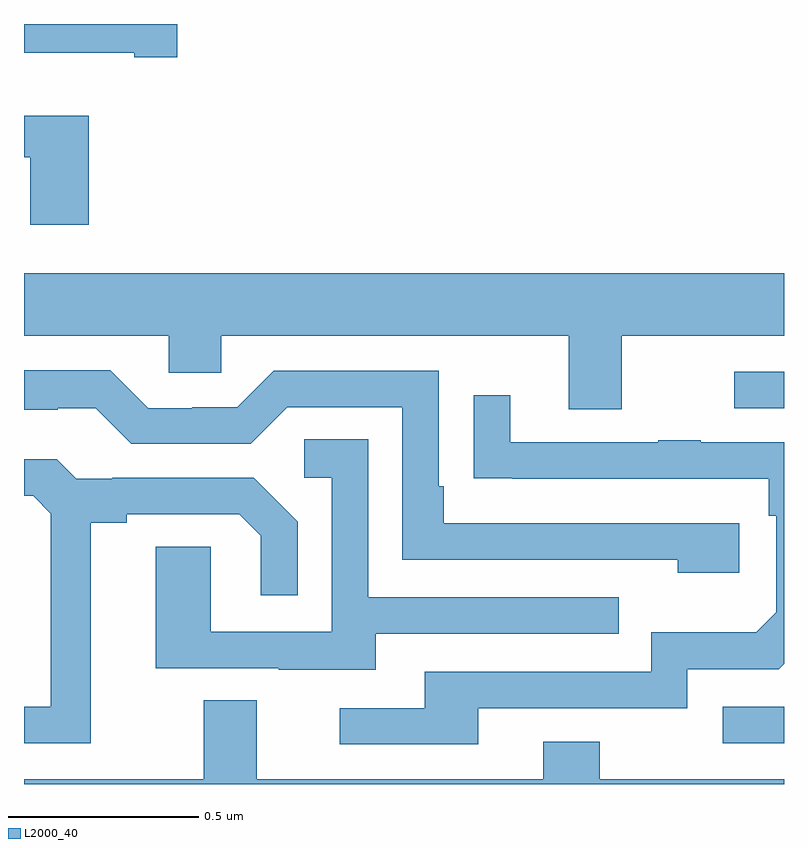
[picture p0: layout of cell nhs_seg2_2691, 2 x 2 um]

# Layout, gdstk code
import gdstk
lib = gdstk.Library(unit=1e-6, precision=1e-09)
def R(c, l, rs):  # rectangles x0, y0, x1, y1
    for r in rs: c.add(gdstk.rectangle(r[:2], r[2:], *l))
def P(c, l, *ps):  # polygons
    for p in ps: c.add(gdstk.Polygon(p, *l))
L2000_40 = (2000, 40)

nhs_seg2_2691 = lib.new_cell('nhs_seg2_2691')
R(nhs_seg2_2691, L2000_40, [(145.839,635.907,146,636.003), (145.869,636.789,146,636.885)])
P(nhs_seg2_2691, L2000_40, [(144.403,637.8),(144,637.8),(144,637.724),(144.29,637.724),(144.29,637.712),(144.403,637.712)],
  [(144.17,637.558),(144,637.558),(144,637.449),(144.017,637.449),(144.017,637.272),(144.17,637.272)],
  [(145.573,636.98),(146,636.98),(146,637.144),(144,637.144),(144,636.98),(144.381,636.98),(144.381,636.882),(144.519,636.882),(144.519,636.98),(145.433,636.98),(145.433,636.786),(145.573,636.786)],
  [(145.882,636.486),(145.105,636.486),(145.105,636.583),(145.092,636.583),(145.092,636.888),(144.657,636.888),(144.561,636.792),(144.443,636.792),(144.443,636.789),(144.327,636.789),(144.227,636.889),(144,636.889),(144,636.785),(144.089,636.785),(144.089,636.789),(144.189,636.789),(144.282,636.696),(144.597,636.696),(144.693,636.792),(144.996,636.792),(144.996,636.39),(145.721,636.39),(145.721,636.356),(145.882,636.356)],
  [(145.195,636),(145.746,636),(145.746,636.102),(145.986,636.102),(146,636.116),(146,636.699),(145.781,636.699),(145.781,636.704),(145.669,636.704),(145.669,636.699),(145.279,636.699),(145.279,636.823),(145.183,636.823),(145.183,636.604),(145.285,636.604),(145.285,636.603),(145.96,636.603),(145.96,636.506),(145.98,636.506),(145.98,636.252),(145.927,636.199),(145.65,636.199),(145.65,636.096),(145.055,636.096),(145.055,636),(144.831,636),(144.831,635.904),(145.195,635.904)],
  [(144.925,636.195),(145.565,636.195),(145.565,636.291),(144.906,636.291),(144.906,636.707),(144.738,636.707),(144.738,636.606),(144.81,636.606),(144.81,636.201),(144.492,636.201),(144.492,636.425),(144.347,636.425),(144.347,636.105),(144.671,636.105),(144.671,636.101),(144.925,636.101)],
  [(144.175,636.488),(144.271,636.488),(144.271,636.51),(144.566,636.51),(144.623,636.453),(144.623,636.297),(144.72,636.297),(144.72,636.49),(144.604,636.606),(144.232,636.606),(144.232,636.603),(144.138,636.603),(144.086,636.655),(144,636.655),(144,636.558),(144.024,636.558),(144.071,636.511),(144.071,636.003),(144,636.003),(144,635.907),(144.175,635.907)],
  [(146,635.812),(145.515,635.812),(145.515,635.911),(145.367,635.911),(145.367,635.812),(144.613,635.812),(144.613,636.02),(144.473,636.02),(144.473,635.812),(144,635.812),(144,635.8),(146,635.8)])

lib.write_gds('nhs_seg2_2691.gds')
